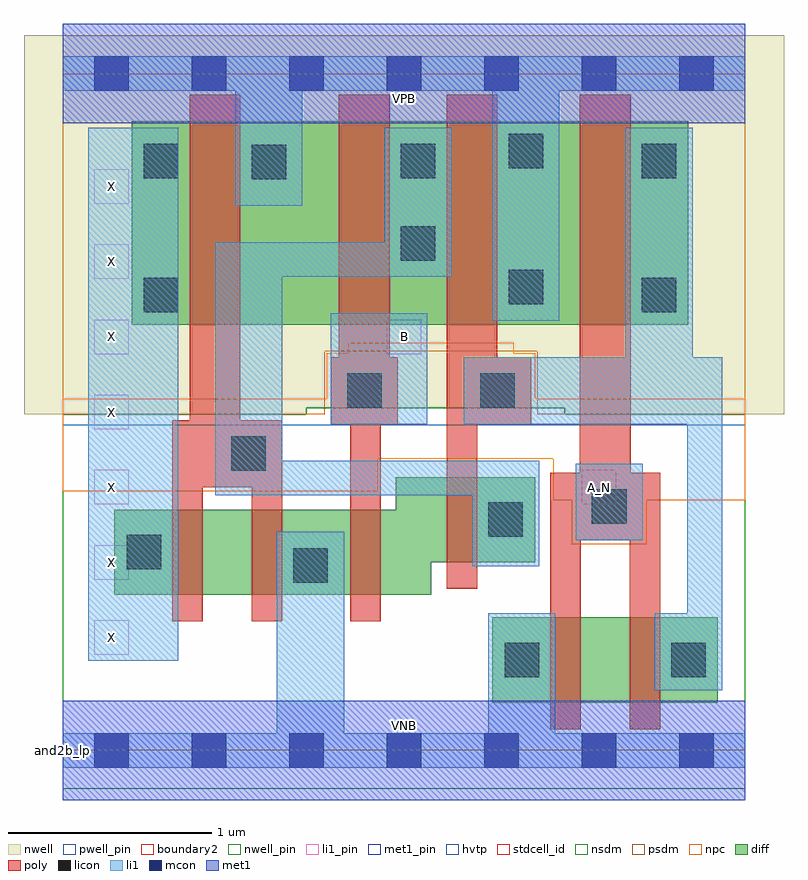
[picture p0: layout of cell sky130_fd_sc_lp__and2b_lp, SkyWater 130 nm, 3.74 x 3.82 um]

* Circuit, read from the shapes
.subckt sky130_fd_sc_lp__and2b_lp A_N B VGND VNB VPB VPWR X
XM1 n1 n2 X VNB sky130_fd_pr__nfet_01v8 w=0.42 l=0.15
XM2 VGND n2 n1 VNB sky130_fd_pr__nfet_01v8 w=0.42 l=0.15
XM3 n3 B VGND VNB sky130_fd_pr__nfet_01v8 w=0.42 l=0.15
XM4 n2 n4 n3 VNB sky130_fd_pr__nfet_01v8 w=0.42 l=0.15
XM5 n5 A_N VGND VNB sky130_fd_pr__nfet_01v8 w=0.42 l=0.15
XM6 n4 A_N n5 VNB sky130_fd_pr__nfet_01v8 w=0.42 l=0.15
XM7 VPWR n2 X VPB sky130_fd_pr__pfet_01v8_hvt w=1 l=0.25
XM8 n2 B VPWR VPB sky130_fd_pr__pfet_01v8_hvt w=1 l=0.25
XM9 VPWR n4 n2 VPB sky130_fd_pr__pfet_01v8_hvt w=1 l=0.25
XM10 n4 A_N VPWR VPB sky130_fd_pr__pfet_01v8_hvt w=1 l=0.25
.ends

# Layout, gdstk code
import gdstk
lib = gdstk.Library(unit=1e-6, precision=1e-09)
def R(c, l, rs):  # rectangles x0, y0, x1, y1
    for r in rs: c.add(gdstk.rectangle(r[:2], r[2:], *l))
def A(c, l, x, y, w, h, nx, ny, dx, dy):  # array of equal rectangles
    R(c, l, [(x+i*dx, y+j*dy, x+i*dx+w, y+j*dy+h) for i in range(nx) for j in range(ny)])
def P(c, l, *ps):  # polygons
    for p in ps: c.add(gdstk.Polygon(p, *l))
nwell_pin = (64, 16)
nwell = (64, 20)
diff = (65, 20)
poly = (66, 20)
licon = (66, 44)
li1_pin = (67, 16)
li1 = (67, 20)
mcon = (67, 44)
met1_pin = (68, 16)
met1 = (68, 20)
hvtp = (78, 44)
stdcell_id = (81, 4)
nsdm = (93, 44)
psdm = (94, 20)
npc = (95, 20)
pwell_pin = (122, 16)
boundary2 = (236, 0)

sky130_fd_sc_lp__and2b_l = lib.new_cell('sky130_fd_sc_lp__and2b_lp')
R(sky130_fd_sc_lp__and2b_l, nwell_pin, [(0,3.085,3.36,3.33)])
P(sky130_fd_sc_lp__and2b_l, nwell, [(3.55,3.52),(-0.19,3.52),(-0.19,1.655),(1.2,1.655),(1.2,1.685),(2.47,1.685),(2.47,1.655),(3.55,1.655)])
R(sky130_fd_sc_lp__and2b_l, diff, [(2.115,0.235,3.225,0.655), (0.34,2.095,3.08,3.095)])
P(sky130_fd_sc_lp__and2b_l, diff, [(2.325,1.345),(1.64,1.345),(1.64,1.185),(0.255,1.185),(0.255,0.765),(1.815,0.765),(1.815,0.925),(2.325,0.925)])
P(sky130_fd_sc_lp__and2b_l, poly, [(1.08,1.625),(0.875,1.625),(0.875,3.225),(0.625,3.225),(0.625,1.625),(0.54,1.625),(0.54,0.635),(0.69,0.635),(0.69,1.295),(0.93,1.295),(0.93,0.635),(1.08,0.635)],
  [(1.65,1.935),(1.61,1.935),(1.61,3.225),(1.36,3.225),(1.36,1.935),(1.32,1.935),(1.32,1.605),(1.415,1.605),(1.415,0.635),(1.565,0.635),(1.565,1.605),(1.65,1.605)],
  [(2.305,1.935),(2.14,1.935),(2.14,3.225),(1.89,3.225),(1.89,0.795),(2.04,0.795),(2.04,1.605),(2.305,1.605)],
  [(2.94,1.365),(2.795,1.365),(2.795,3.225),(2.545,3.225),(2.545,1.365),(2.4,1.365),(2.4,0.105),(2.55,0.105),(2.55,1.035),(2.79,1.035),(2.79,0.105),(2.94,0.105)])
R(sky130_fd_sc_lp__and2b_l, licon, [(2.175,0.36,2.345,0.53), (2.995,0.36,3.165,0.53), (1.135,0.825,1.305,0.995), (0.315,0.89,0.485,1.06), (2.095,1.05,2.265,1.22), (2.605,1.115,2.775,1.285), (0.83,1.375,1,1.545), (1.4,1.685,1.57,1.855), (2.055,1.685,2.225,1.855), (0.4,2.155,0.57,2.325), (2.85,2.155,3.02,2.325), (2.195,2.195,2.365,2.365), (1.665,2.41,1.835,2.58), (0.93,2.81,1.1,2.98), (0.4,2.815,0.57,2.985), (1.665,2.815,1.835,2.985), (2.85,2.815,3.02,2.985), (2.195,2.865,2.365,3.035)])
A(sky130_fd_sc_lp__and2b_l, li1_pin, 0.155, 0.47, 0.17, 0.17, 1, 7, 0, 0.37)
R(sky130_fd_sc_lp__and2b_l, li1_pin, [(2.555,1.21,2.725,1.38), (1.595,1.95,1.765,2.12)])
R(sky130_fd_sc_lp__and2b_l, li1, [(0.125,0.44,0.57,3.065), (2.525,1.035,2.855,1.41), (1.32,1.605,1.795,2.15)])
P(sky130_fd_sc_lp__and2b_l, li1, [(2.115,2.115),(2.115,3.245),(1.18,3.245),(1.18,2.68),(0.85,2.68),(0.85,3.245),(0,3.245),(0,3.415),(3.36,3.415),(3.36,3.245),(2.445,3.245),(2.445,2.115)],
  [(2.095,0.085),(2.095,0.675),(2.425,0.675),(2.425,0.085),(3.36,0.085),(3.36,-0.085),(0,-0.085),(0,0.085),(1.055,0.085),(1.055,1.075),(1.385,1.075),(1.385,0.085)],
  [(2.77,1.935),(2.77,3.065),(3.1,3.065),(3.1,1.935),(3.245,1.935),(3.245,0.295),(2.915,0.295),(2.915,0.675),(3.075,0.675),(3.075,1.605),(1.975,1.605),(1.975,1.935)],
  [(0.75,1.255),(0.75,2.5),(1.585,2.5),(1.585,3.065),(1.915,3.065),(1.915,2.33),(1.08,2.33),(1.08,1.425),(2.345,1.425),(2.345,0.905),(2.015,0.905),(2.015,1.255)])
A(sky130_fd_sc_lp__and2b_l, mcon, 0.155, -0.085, 0.17, 0.17, 7, 2, 0.48, 3.33)
R(sky130_fd_sc_lp__and2b_l, met1_pin, [(0,0,3.36,0.245), (0,3.085,3.36,3.33)])
R(sky130_fd_sc_lp__and2b_l, met1, [(0,-0.245,3.36,0.245), (0,3.085,3.36,3.575)])
R(sky130_fd_sc_lp__and2b_l, hvtp, [(0,1.6,3.36,3.33)])
R(sky130_fd_sc_lp__and2b_l, stdcell_id, [(0,0,3.36,3.33)])
P(sky130_fd_sc_lp__and2b_l, nsdm, [(3.36,1.655),(2.47,1.655),(2.47,1.685),(1.2,1.685),(1.2,1.655),(0,1.655),(0,-0.19),(3.36,-0.19)])
P(sky130_fd_sc_lp__and2b_l, psdm, [(3.36,3.52),(0,3.52),(0,1.655),(1.29,1.655),(1.29,1.965),(2.335,1.965),(2.335,1.655),(3.36,1.655)])
P(sky130_fd_sc_lp__and2b_l, npc, [(3.36,1.73),(2.325,1.73),(2.325,1.955),(2.22,1.955),(2.22,2.005),(1.405,2.005),(1.405,1.955),(1.3,1.955),(1.3,1.73),(0,1.73),(0,1.275),(1.55,1.275),(1.55,1.435),(2.415,1.435),(2.415,1.23),(2.505,1.23),(2.505,1.015),(2.875,1.015),(2.875,1.23),(3.36,1.23)])
R(sky130_fd_sc_lp__and2b_l, pwell_pin, [(0,0,3.36,0.245)])
R(sky130_fd_sc_lp__and2b_l, boundary2, [(0,0,3.36,3.33)])
sky130_fd_sc_lp__and2b_l.add(gdstk.Label('VNB', (1.68,0.123), layer=64, texttype=59))
sky130_fd_sc_lp__and2b_l.add(gdstk.Label('VPB', (1.68,3.208), layer=64, texttype=5))
sky130_fd_sc_lp__and2b_l.add(gdstk.Label('and2b_lp', (0,0), layer=83, texttype=44))
sky130_fd_sc_lp__and2b_l.add(gdstk.Label('VPWR', (1.68,3.208), layer=68, texttype=5))
sky130_fd_sc_lp__and2b_l.add(gdstk.Label('VGND', (1.68,0.123), layer=68, texttype=5))
sky130_fd_sc_lp__and2b_l.add(gdstk.Label('A_N', (2.64,1.295), layer=67, texttype=5))
sky130_fd_sc_lp__and2b_l.add(gdstk.Label('B', (1.68,2.035), layer=67, texttype=5))
sky130_fd_sc_lp__and2b_l.add(gdstk.Label('X', (0.24,0.555), layer=67, texttype=5))
sky130_fd_sc_lp__and2b_l.add(gdstk.Label('X', (0.24,0.925), layer=67, texttype=5))
sky130_fd_sc_lp__and2b_l.add(gdstk.Label('X', (0.24,1.295), layer=67, texttype=5))
sky130_fd_sc_lp__and2b_l.add(gdstk.Label('X', (0.24,1.665), layer=67, texttype=5))
sky130_fd_sc_lp__and2b_l.add(gdstk.Label('X', (0.24,2.035), layer=67, texttype=5))
sky130_fd_sc_lp__and2b_l.add(gdstk.Label('X', (0.24,2.405), layer=67, texttype=5))
sky130_fd_sc_lp__and2b_l.add(gdstk.Label('X', (0.24,2.775), layer=67, texttype=5))

lib.write_gds('sky130_fd_sc_lp__and2b_lp.gds')
